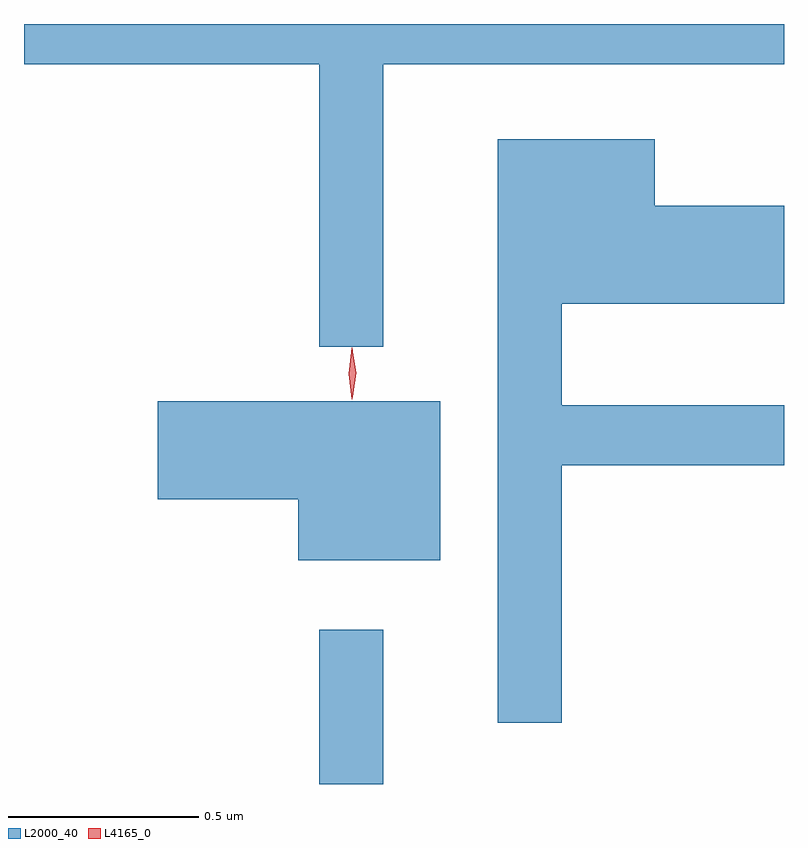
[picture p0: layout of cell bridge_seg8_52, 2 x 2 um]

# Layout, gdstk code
import gdstk
lib = gdstk.Library(unit=1e-6, precision=1e-09)
def R(c, l, rs):  # rectangles x0, y0, x1, y1
    for r in rs: c.add(gdstk.rectangle(r[:2], r[2:], *l))
def P(c, l, *ps):  # polygons
    for p in ps: c.add(gdstk.Polygon(p, *l))
L2000_40 = (2000, 40)
L4165_0 = (4165, 0)

bridge_seg8_52 = lib.new_cell('bridge_seg8_52')
R(bridge_seg8_52, L2000_40, [(1566.591,1912.222,1566.759,1912.628)])
P(bridge_seg8_52, L2000_40, [(1566.759,1914.116),(1567.814,1914.116),(1567.814,1914.222),(1565.814,1914.222),(1565.814,1914.116),(1566.591,1914.116),(1566.591,1913.373),(1566.759,1913.373)],
  [(1567.229,1913.061),(1567.814,1913.061),(1567.814,1913.219),(1567.229,1913.219),(1567.229,1913.486),(1567.814,1913.486),(1567.814,1913.744),(1567.474,1913.744),(1567.474,1913.919),(1567.061,1913.919),(1567.061,1912.383),(1567.229,1912.383)],
  [(1566.909,1913.229),(1566.166,1913.229),(1566.166,1912.971),(1566.536,1912.971),(1566.536,1912.811),(1566.909,1912.811)])
P(bridge_seg8_52, L4165_0, [(1566.677,1913.234),(1566.668,1913.302),(1566.677,1913.37),(1566.677,1913.37),(1566.678,1913.37),(1566.687,1913.302),(1566.678,1913.234),(1566.678,1913.234)],
  [(1566.678,1913.24),(1566.678,1913.241),(1566.668,1913.303),(1566.677,1913.366),(1566.677,1913.367),(1566.678,1913.366),(1566.688,1913.304),(1566.679,1913.241)])

lib.write_gds('bridge_seg8_52.gds')
